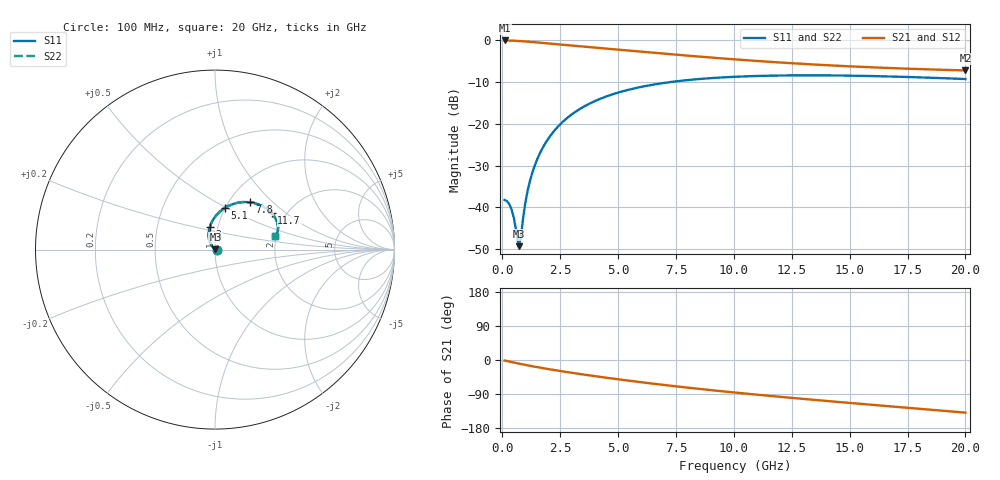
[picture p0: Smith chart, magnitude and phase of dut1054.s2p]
! Touchstone file exported from HFSS 2024.1.0
!  File:  C:/UserFiles/LocalFiles/RDL_TSV_Batchsim/temp_RDL_TSV_1054_1780089418.aedt
!  Generated:  05:29:53 AM May 30, 2026
!  Design:  RDL_TSV
!  Project:  temp_RDL_TSV_1054_1780089418
!  Setup:  Setup1
!  Solution:  Sweep
! Variables:
!  dtsv = 12.46um
!  hbump = 3um
!  htsv = 51.09um
!  ldown = 231.37um
!  lrdl = 329.49um
!  p = 40
!  p1 = 58.4um
!  rhole = 10um
!  subl = 2012.07um
!  t = 450um
!  tdown = 2.69um
!  trdl = 4.46um
!  viad = 10um
!  wdown = 10.74um
!  wrdl = 29.49um
!  xbump = 18um
# GHz S MA R 50.000000
! Terminal data exported
! Port[1] = TM1_1_T1
! Port[2] = TM1_4_T1
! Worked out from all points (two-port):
!   200 points, 100 MHz to 20 GHz, reference 50 ohm
!   highest |S21| = -0.11 dB at 100 MHz (marker M1); lowest = -7.3 dB at 20 GHz (marker M2)
!   |S21| within 3 dB of the highest: start of sweep to 6.671 GHz
!   lowest |S11| = -49.2 dB at 700 MHz (marker M3), VSWR 1.01, Z = 50.2 + j0.264 ohm
!   |S11| at or under -10 dB: start of sweep to 7.327 GHz
!   |S22| runs from -49.2 to -8.4 dB; largest |S21 - S12| = 1.8e-14
!   S11 on the Smith chart (normalised r, x): 100 MHz: 1.02, +0.00; 3 GHz: 0.92, +0.23; 5.1 GHz: 1.00, +0.49; 7.8 GHz: 1.24, +0.73; 11.7 GHz: 1.69, +0.80; 20 GHz: 1.97, +0.33
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0.1  0.01231 1.1  0.9871 -1.4  0.9871 -1.4  0.01231 1.1
! Gamma 0 0 0 0
! Port Impedance 50 0 50 0
0.3  0.011 1.2  0.984 -4.1  0.984 -4.1  0.011 1.2
0.4  0.009497 2.0  0.9818 -5.4  0.9818 -5.4  0.009493 2.0
0.5  0.007507 5.4  0.9791 -6.7  0.9791 -6.7  0.0075 5.4
0.7  0.003454 49.5  0.9726 -9.3  0.9726 -9.3  0.003449 49.7
0.8  0.00434 100.6  0.9688 -10.5  0.9688 -10.5  0.004352 100.8
0.9  0.007551 122.1  0.9647 -11.8  0.9647 -11.8  0.007573 122.2
1  0.01162 129.1  0.9603 -13.0  0.9603 -13.0  0.01165 129.2
1.1  0.01617 131.4  0.9557 -14.2  0.9557 -14.2  0.0162 131.4
1.3  0.02622 131.0  0.9459 -16.5  0.9459 -16.5  0.02627 131.0
1.5  0.03722 128.4  0.9356 -18.8  0.9356 -18.8  0.03728 128.4
2.1  0.0734 117.9  0.9039 -25.1  0.9039 -25.1  0.07351 118.0
3  0.1294 102.9  0.858 -33.8  0.858 -33.8  0.1295 102.9
3.5  0.1589 95.5  0.8341 -38.3  0.8341 -38.3  0.1591 95.6
5.1  0.2399 76.4  0.7626 -51.7  0.7626 -51.7  0.2402 76.4
6.8  0.3017 61.0  0.6939 -64.6  0.6939 -64.6  0.3022 61.0
7.8  0.3276 53.6  0.6572 -71.6  0.6572 -71.6  0.3281 53.6
10.1  0.3642 40.0  0.5852 -86.2  0.5852 -86.2  0.3648 40.0
11.7  0.3755 32.6  0.5451 -95.5  0.5451 -95.5  0.3762 32.7
13.4  0.3786 26.3  0.5106 -104.8  0.5106 -104.8  0.3794 26.3
16.7  0.3669 17.3  0.4628 -122.0  0.4628 -122.0  0.3678 17.4
20  0.3419 12.5  0.4333 -138.9  0.4333 -138.9  0.343 12.6
